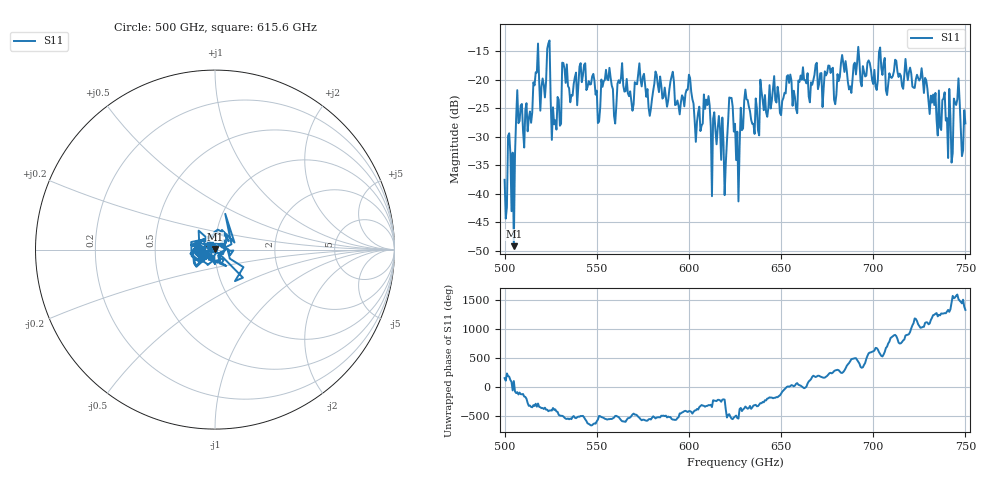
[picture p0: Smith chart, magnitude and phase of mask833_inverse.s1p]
!Created with skrf (http://scikit-rf.org).
# GHz S MA R 50.0
!freq magS11 angS11
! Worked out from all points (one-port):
!   401 points, 500 GHz to 750 GHz, reference 50 ohm
!   lowest |S11| = -49.2 dB at 505 GHz (marker M1), VSWR 1.01, Z = 49.9 + j0.341 ohm
!   |S11| at or under -10 dB: start of sweep to end of sweep
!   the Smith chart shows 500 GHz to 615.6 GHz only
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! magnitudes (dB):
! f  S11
! 500 GHz  -37.6
! 503.1 GHz  -32.9
! 505 GHz  -49.2
! 507.5 GHz  -27.6
! 513.8 GHz  -25.6
! 516.9 GHz  -18.7
! 520.6 GHz  -19.8
! 523.8 GHz  -13.6
! 526.9 GHz  -27.8
! 531.2 GHz  -17.0
! 542.5 GHz  -19.2
! 550.6 GHz  -27.6
! 562.5 GHz  -20.6
! 593.8 GHz  -23.6
! 609.4 GHz  -23.5
! 618.8 GHz  -31.0
! 622.5 GHz  -23.2
! 625 GHz  -27.7
! 626.2 GHz  -29.1
! 631.2 GHz  -23.5
! 656.2 GHz  -24.6
! 680 GHz  -22.6
! 683.8 GHz  -17.1
! 687.5 GHz  -21.2
! 718.8 GHz  -20.1
! 741.9 GHz  -26.5
! 745 GHz  -24.4
! 750 GHz  -27.7
